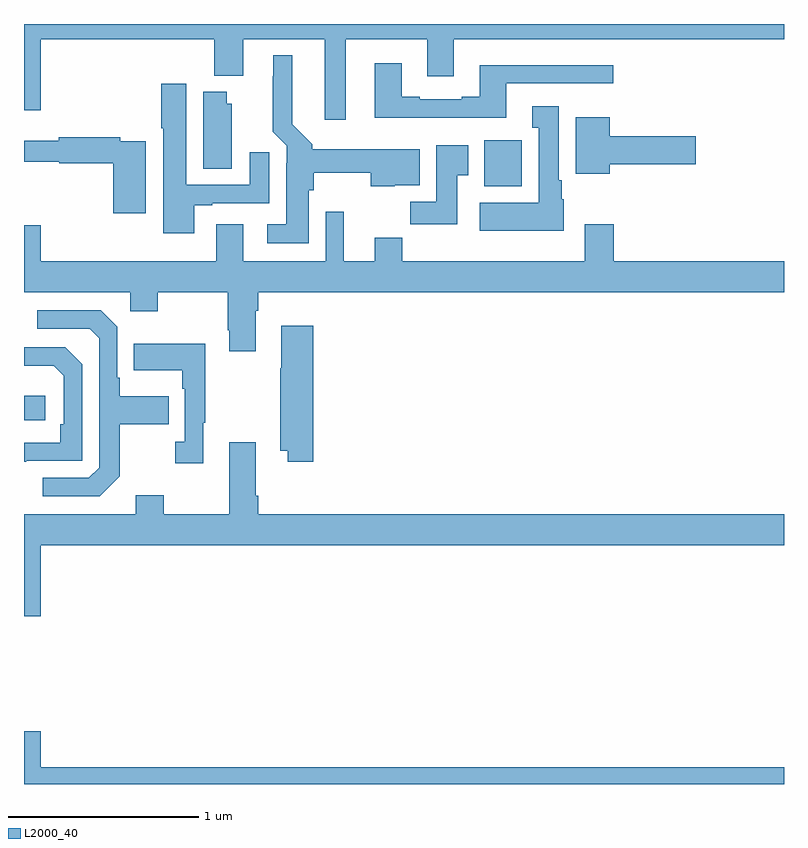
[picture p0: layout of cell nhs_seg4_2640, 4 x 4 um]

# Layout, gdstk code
import gdstk
lib = gdstk.Library(unit=1e-6, precision=1e-09)
def R(c, l, rs):  # rectangles x0, y0, x1, y1
    for r in rs: c.add(gdstk.rectangle(r[:2], r[2:], *l))
def P(c, l, *ps):  # polygons
    for p in ps: c.add(gdstk.Polygon(p, *l))
L2000_40 = (2000, 40)

nhs_seg4_2640 = lib.new_cell('nhs_seg4_2640')
R(nhs_seg4_2640, L2000_40, [(249,794.814,249.112,794.944), (251.423,796.046,251.62,796.288)])
P(nhs_seg4_2640, L2000_40, [(250.693,796.82),(251.123,796.82),(251.123,796.626),(251.263,796.626),(251.263,796.82),(253,796.82),(253,796.9),(249,796.9),(249,796.446),(249.088,796.446),(249.088,796.82),(250.001,796.82),(250.001,796.628),(250.153,796.628),(250.153,796.82),(250.583,796.82),(250.583,796.395),(250.693,796.395)],
  [(250.498,796.026),(250.524,796.026),(250.524,796.118),(250.825,796.118),(250.825,796.046),(250.95,796.046),(250.95,796.052),(251.083,796.052),(251.083,796.24),(250.516,796.24),(250.516,796.266),(250.411,796.372),(250.411,796.735),(250.313,796.735),(250.313,796.625),(250.309,796.625),(250.309,796.334),(250.383,796.26),(250.383,796.166),(250.379,796.166),(250.379,795.847),(250.281,795.847),(250.281,795.746),(250.498,795.746)],
  [(251.539,796.587),(252.1,796.587),(252.1,796.684),(251.399,796.684),(251.399,796.516),(251.303,796.516),(251.303,796.503),(251.083,796.503),(251.083,796.516),(250.987,796.516),(250.987,796.693),(250.847,796.693),(250.847,796.406),(251.539,796.406)],
  [(249.895,795.945),(249.991,795.945),(249.991,795.957),(250.291,795.957),(250.291,796.225),(250.187,796.225),(250.187,796.053),(249.853,796.053),(249.853,796.585),(249.722,796.585),(249.722,796.351),(249.734,796.351),(249.734,795.798),(249.895,795.798)],
  [(250.093,796.479),(250.066,796.479),(250.066,796.543),(249.944,796.543),(249.944,796.138),(250.093,796.138)],
  [(251.842,795.978),(251.83,795.978),(251.83,796.078),(251.815,796.078),(251.815,796.468),(251.675,796.468),(251.675,796.355),(251.708,796.355),(251.708,795.958),(251.399,795.958),(251.399,795.812),(251.842,795.812)],
  [(252.082,796.163),(252.535,796.163),(252.535,796.31),(252.082,796.31),(252.082,796.408),(251.903,796.408),(251.903,796.112),(252.082,796.112)],
  [(249.64,796.284),(249.506,796.284),(249.506,796.304),(249.184,796.304),(249.184,796.285),(249,796.285),(249,796.176),(249.186,796.176),(249.186,796.168),(249.47,796.168),(249.47,795.903),(249.64,795.903)],
  [(251.281,796.105),(251.338,796.105),(251.338,796.261),(251.171,796.261),(251.171,795.964),(251.032,795.964),(251.032,795.846),(251.281,795.846)],
  [(250.219,795.392),(250.232,795.392),(250.232,795.488),(253,795.488),(253,795.652),(252.104,795.652),(252.104,795.847),(251.951,795.847),(251.951,795.652),(250.991,795.652),(250.991,795.776),(250.847,795.776),(250.847,795.652),(250.684,795.652),(250.684,795.913),(250.587,795.913),(250.587,795.652),(250.153,795.652),(250.153,795.847),(250.013,795.847),(250.013,795.652),(249.088,795.652),(249.088,795.841),(249,795.841),(249,795.488),(249.558,795.488),(249.558,795.389),(249.705,795.389),(249.705,795.488),(250.072,795.488),(250.072,795.289),(250.079,795.289),(250.079,795.177),(250.219,795.177)],
  [(249.505,794.521),(249.505,794.794),(249.761,794.794),(249.761,794.941),(249.505,794.941),(249.505,795.037),(249.492,795.037),(249.492,795.306),(249.405,795.393),(249.069,795.393),(249.069,795.297),(249.345,795.297),(249.396,795.246),(249.396,794.565),(249.342,794.511),(249.099,794.511),(249.099,794.415),(249.399,794.415)],
  [(250.523,795.313),(250.355,795.313),(250.355,795.089),(250.348,795.089),(250.348,794.654),(250.388,794.654),(250.388,794.595),(250.523,794.595)],
  [(249.943,794.801),(249.955,794.801),(249.955,795.217),(249.577,795.217),(249.577,795.077),(249.834,795.077),(249.834,794.981),(249.846,794.981),(249.846,794.702),(249.795,794.702),(249.795,794.589),(249.943,794.589)],
  [(249.011,794.601),(249.306,794.601),(249.306,795.108),(249.216,795.198),(249,795.198),(249,795.101),(249.157,795.101),(249.21,795.048),(249.21,794.794),(249.19,794.794),(249.19,794.697),(249,794.697),(249,794.596),(249.011,794.596)],
  [(249.088,794.156),(253,794.156),(253,794.32),(250.232,794.32),(250.232,794.416),(250.219,794.416),(250.219,794.698),(250.079,794.698),(250.079,794.32),(249.735,794.32),(249.735,794.419),(249.587,794.419),(249.587,794.32),(249,794.32),(249,793.782),(249.088,793.782)],
  [(253,792.988),(249.088,792.988),(249.088,793.177),(249,793.177),(249,792.9),(253,792.9)])

lib.write_gds('nhs_seg4_2640.gds')
